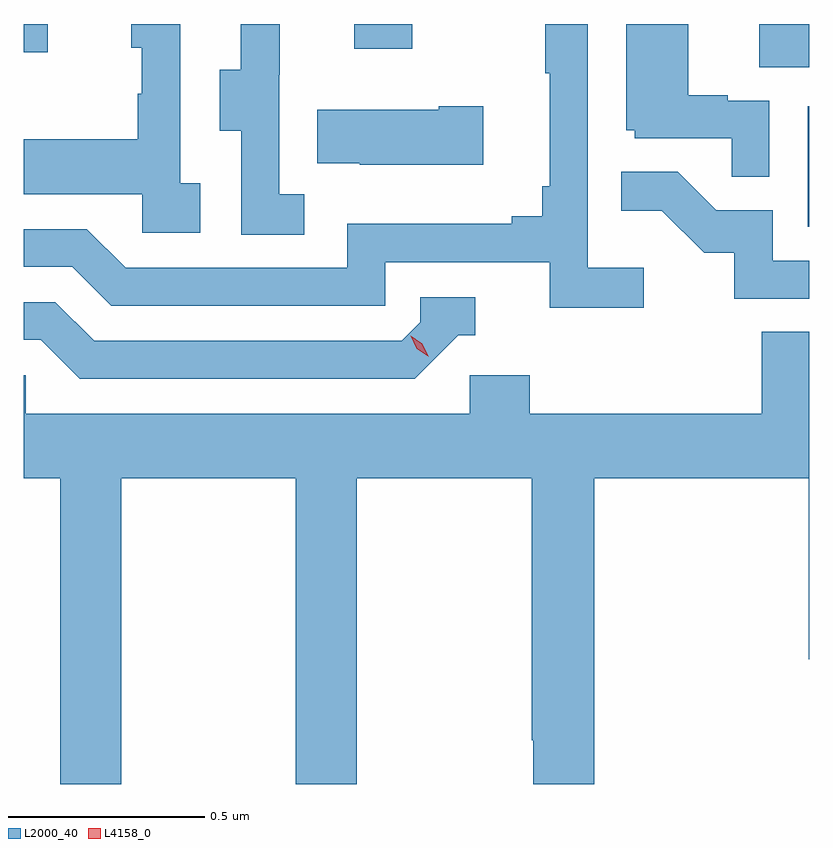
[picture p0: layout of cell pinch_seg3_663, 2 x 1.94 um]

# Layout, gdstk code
import gdstk
lib = gdstk.Library(unit=1e-6, precision=1e-09)
def R(c, l, rs):  # rectangles x0, y0, x1, y1
    for r in rs: c.add(gdstk.rectangle(r[:2], r[2:], *l))
def P(c, l, *ps):  # polygons
    for p in ps: c.add(gdstk.Polygon(p, *l))
L2000_40 = (2000, 40)
L4158_0 = (4158, 0)

pinch_seg3_663 = lib.new_cell('pinch_seg3_663')
R(pinch_seg3_663, L2000_40, [(1020.062,669.588,1020.066,669.895), (1019.939,669.994,1020.066,670.104), (1018.066,670.032,1018.127,670.104), (1018.907,670.041,1019.055,670.104)])
P(pinch_seg3_663, L2000_40, [(1019.964,669.909),(1019.858,669.909),(1019.858,669.922),(1019.758,669.922),(1019.758,670.104),(1019.6,670.104),(1019.6,669.834),(1019.622,669.834),(1019.622,669.813),(1019.869,669.813),(1019.869,669.715),(1019.964,669.715)],
  [(1018.78,669.671),(1018.716,669.671),(1018.716,669.975),(1018.718,669.975),(1018.718,670.104),(1018.619,670.104),(1018.619,669.987),(1018.565,669.987),(1018.565,669.832),(1018.62,669.832),(1018.62,669.568),(1018.78,669.568)],
  [(1018.516,669.698),(1018.464,669.698),(1018.464,670.104),(1018.34,670.104),(1018.34,670.044),(1018.366,670.044),(1018.366,669.926),(1018.356,669.926),(1018.356,669.811),(1018.066,669.811),(1018.066,669.671),(1018.368,669.671),(1018.368,669.573),(1018.516,669.573)],
  [(1019.644,669.484),(1019.502,669.484),(1019.502,670.104),(1019.394,670.104),(1019.394,669.979),(1019.405,669.979),(1019.405,669.691),(1019.386,669.691),(1019.386,669.614),(1019.309,669.614),(1019.309,669.595),(1018.89,669.595),(1018.89,669.483),(1018.326,669.483),(1018.227,669.582),(1018.066,669.582),(1018.066,669.486),(1018.19,669.486),(1018.289,669.387),(1018.986,669.387),(1018.986,669.498),(1019.405,669.498),(1019.405,669.382),(1019.644,669.382)],
  [(1019.236,669.894),(1019.123,669.894),(1019.123,669.886),(1018.813,669.886),(1018.813,669.749),(1018.921,669.749),(1018.921,669.746),(1019.236,669.746)],
  [(1020.066,669.501),(1019.973,669.501),(1019.973,669.63),(1019.829,669.63),(1019.731,669.728),(1019.587,669.728),(1019.587,669.629),(1019.691,669.629),(1019.798,669.522),(1019.875,669.522),(1019.875,669.405),(1020.066,669.405)],
  [(1019.172,669.312),(1019.215,669.312),(1019.215,669.408),(1019.076,669.408),(1019.076,669.345),(1019.028,669.297),(1018.245,669.297),(1018.146,669.396),(1018.066,669.396),(1018.066,669.3),(1018.109,669.3),(1018.208,669.201),(1019.061,669.201)],
  [(1018.314,668.948),(1018.759,668.948),(1018.759,668.169),(1018.914,668.169),(1018.914,668.948),(1019.359,668.948),(1019.359,668.281),(1019.363,668.281),(1019.363,668.169),(1019.519,668.169),(1019.519,668.948),(1020.065,668.948),(1020.065,668.487),(1020.066,668.487),(1020.066,669.32),(1019.945,669.32),(1019.945,669.112),(1019.354,669.112),(1019.354,669.21),(1019.202,669.21),(1019.202,669.112),(1018.071,669.112),(1018.071,669.21),(1018.066,669.21),(1018.066,668.948),(1018.159,668.948),(1018.159,668.169),(1018.314,668.169)])
P(pinch_seg3_663, L4158_0, [(1019.097,669.257),(1019.066,669.277),(1019.051,669.31),(1019.051,669.31),(1019.051,669.31),(1019.081,669.29),(1019.097,669.257),(1019.097,669.257)])

lib.write_gds('pinch_seg3_663.gds')
